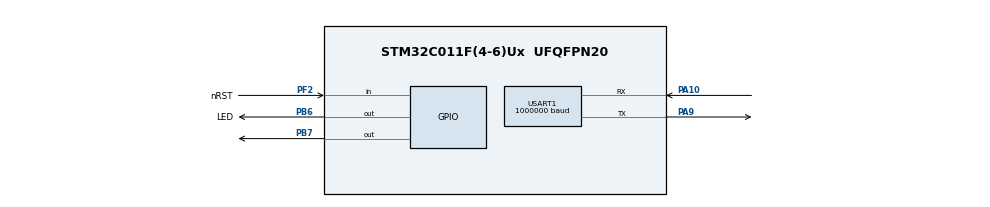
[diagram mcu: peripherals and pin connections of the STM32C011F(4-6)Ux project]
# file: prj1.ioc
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ADC1.Channel-1\#ChannelRegularConversion=ADC_CHANNEL_TEMPSENSOR
ADC1.NbrOfConversionFlag=1
ADC1.Rank-1\#ChannelRegularConversion=1
ADC1.SamplingTime-1\#ChannelRegularConversion=ADC_SAMPLINGTIME_COMMON_1
ADC1.SelectedChannel=ADC_CHANNEL_TEMPSENSOR
ADC1.master=1
Mcu.Family=STM32C0
Mcu.Name=STM32C011F(4-6)Ux
Mcu.Package=UFQFPN20
NVIC.TIM1_BRK_UP_TRG_COM_IRQn=true\:0\:0\:false\:false\:true\:true\:true\:true
NVIC.USART1_IRQn=true\:0\:0\:false\:false\:true\:true\:true\:true
PA10\ [PA12].GPIO_FMPA10=SYSCFG_FASTMODEPLUS_PA10
PA10\ [PA12].GPIO_ModeDefaultPP=GPIO_MODE_AF_PP
PA10\ [PA12].GPIO_PuPd=GPIO_NOPULL
PA10\ [PA12].GPIO_Speed=GPIO_SPEED_FREQ_VERY_HIGH
PA10\ [PA12].Mode=Asynchronous
PA10\ [PA12].Signal=USART1_RX
PA13.Mode=Serial_Wire
PA13.Signal=DEBUG_SWDIO
PA14-BOOT0.Mode=Serial_Wire
PA14-BOOT0.Signal=DEBUG_SWCLK
PA9\ [PA11].GPIO_FMPA9=SYSCFG_FASTMODEPLUS_PA9
PA9\ [PA11].GPIO_PuPd=GPIO_NOPULL
PA9\ [PA11].GPIO_Speed=GPIO_SPEED_FREQ_VERY_HIGH
PA9\ [PA11].Mode=Asynchronous
PA9\ [PA11].Signal=USART1_TX
PB6.GPIO_Label=LED
PB6.GPIO_Speed=GPIO_SPEED_FREQ_VERY_HIGH
PB6.PinState=GPIO_PIN_RESET
PB6.Signal=GPIO_Output
PB7.Signal=GPIO_Output
PF2-NRST.GPIO_Label=nRST
PF2-NRST.Signal=GPIO_Input
ProjectManager.HeapSize=0x200
ProjectManager.StackSize=0x400
ProjectManager.TargetToolchain=MDK-ARM V5.32
RCC.ADCFreq_Value=48000000
RCC.AHBFreq_Value=48000000
RCC.CortexFreq_Value=48000000
RCC.EXTERNAL_CLOCK_VALUE=12288000
RCC.HCLKFreq_Value=48000000
RCC.HSE_VALUE=8000000
RCC.HSISYSCLKDivider=RCC_HSI_DIV1
RCC.HSI_VALUE=48000000
RCC.LSE_VALUE=32768
RCC.SYSCLKFreq_VALUE=48000000
TIM1.Period=9
TIM1.Prescaler=47999
USART1.BaudRate=1000000
USART1.VirtualMode-Asynchronous=VM_ASYNC
VP_ADC1_TempSens_Input.Mode=IN-TempSens
VP_SYS_VS_PINREMAP.Mode=PINREMAP
VP_SYS_VS_PINREMAP_10_12.Mode=PINREMAP_10_12
VP_TIM1_VS_ClockSourceINT.Mode=Internal
board=STM32C0116-DK

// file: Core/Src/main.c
/* USER CODE BEGIN Header */
/**
  ******************************************************************************
  * @file           : main.c
  * @brief          : Main program body
  ******************************************************************************
  * @attention
  *
  * Copyright (c) 2023 STMicroelectronics.
  * All rights reserved.
  *
  * This software is licensed under terms that can be found in the LICENSE file
  * in the root directory of this software component.
  * If no LICENSE file comes with this software, it is provided AS-IS.
  *
  ******************************************************************************
  */
/* USER CODE END Header */
#include "main.h"
#include "adc.h"
#include "tim.h"
#include "usart.h"
#include "gpio.h"

/* USER CODE BEGIN Includes */
#include <stdio.h>           //--add for sprintf

/* USER CODE END Includes */

/* USER CODE BEGIN PTD */

//#define TXMODE
#define RXMODE

extern volatile uint8_t flg_rx;
extern volatile uint8_t irxdata;

extern volatile uint8_t timer1_flag;
extern  volatile uint32_t itimecount;

/* USER CODE END PTD */

/* USER CODE BEGIN PD */

  #define ADC_CALIBRATION_TIMEOUT_MS       (   1UL)
  #define ADC_ENABLE_TIMEOUT_MS            (   1UL)
  #define ADC_DISABLE_TIMEOUT_MS           (   1UL)
  #define ADC_STOP_CONVERSION_TIMEOUT_MS   (   1UL)
  #define ADC_CONVERSION_TIMEOUT_MS        (4000UL)

  /* Delay between ADC end of calibration and ADC enable.                     */
  /* Delay estimation in CPU cycles: Case of ADC enable done                  */
  /* immediately after ADC calibration, ADC clock setting slow                */
  /* (LL_ADC_CLOCK_ASYNC_DIV32). Use a higher delay if ratio                  */
  /* (CPU clock / ADC clock) is above 32.                                     */
  #define ADC_DELAY_CALIB_ENABLE_CPU_CYCLES  (LL_ADC_DELAY_CALIB_ENABLE_ADC_CYCLES * 32)

/* Definitions of environment analog values */
  /* Value of analog reference voltage (Vref+), connected to analog voltage   */
  /* supply Vdda (unit: mV).                                                  */
  #define VDDA_APPLI                       (3300UL)

/* Definitions of data related to this example */
  /* Init variable out of expected ADC conversion data range */
  #define VAR_CONVERTED_DATA_INIT_VALUE    (__LL_ADC_DIGITAL_SCALE(LL_ADC_RESOLUTION_12B) + 1)

/* USER CODE END PD */

/* USER CODE BEGIN PV */
//uint8_t ommo_mode = DEFAULT_MODE;
//uint8_t ommo_status = DEFAULT_STATUS;

int16_t itempval = 0UL; /* Value of temperature calculated from ADC conversion data (unit: degree Celsius) */
#define INTERNAL_TEMPSENSOR_AVGSLOPE   ((int32_t) 2500)        /* Internal temperature sensor, parameter Avg_Slope (unit: uV/DegCelsius). Refer to device datasheet for min/typ/max values. */
#define INTERNAL_TEMPSENSOR_V30        ((((int32_t)*TEMPSENSOR_CAL1_ADDR) \
                                        * TEMPSENSOR_CAL_VREFANALOG) / __LL_ADC_DIGITAL_SCALE(LL_ADC_RESOLUTION_12B)) /* Internal temperature sensor, parameter V30 (unit: mV), using calibration data (alternate solution possible with datasheet parameter: V30=760mV typ for STM32C0) */
#define INTERNAL_TEMPSENSOR_V30_TEMP   (TEMPSENSOR_CAL1_TEMP)

/* Variables for ADC conversion data */
__IO uint16_t uhADCxConvertedData = VAR_CONVERTED_DATA_INIT_VALUE; /* ADC group regular conversion data */

/* Variables for ADC conversion data computation to physical values */
uint16_t uhADCxConvertedData_Voltage_mVolt = 0;  /* Value of voltage calculated from ADC conversion data (unit: mV) */

/* USER CODE END PV */

void SystemClock_Config(void);
/* USER CODE BEGIN PFP */
void ADC_Activate(void);
void ConversionStartPoll_ADC_GrpRegular(void);

/* USER CODE END PFP */

/* USER CODE BEGIN 0 */

void iputs1(char *msg)
{
   while(*msg)
   Send_Data_To_UART1(*msg++);
}

void iputbytes1(uint8_t *msg, uint32_t ilen)
{
   while(ilen--)
   Send_Data_To_UART1(*msg++);
}

void Send_Data_To_UART1 (uint8_t c)
{

   USART1->TDR = c;

   while( (USART1-> ISR & (1<<7) ) ==0 );
}

/**
  * @brief  Perform ADC activation procedure to make it ready to convert
  *         (ADC instance: ADC1).
  * @param  None
  * @retval None
  */
void ADC_Activate(void)
{
  __IO uint32_t wait_loop_index = 0U;
  __IO uint32_t backup_setting_adc_dma_transfer = 0U;
  #if (USE_TIMEOUT == 1)
  uint32_t Timeout = 0U; /* Variable used for timeout management */
  #endif /* USE_TIMEOUT */

  /*## Operation on ADC hierarchical scope: ADC instance #####################*/

  /* Note: Hardware constraint (refer to description of the functions         */
  /*       below):                                                            */
  /*       On this STM32 series, setting of these features is conditioned to  */
  /*       ADC state:                                                         */
  /*       ADC must be disabled.                                              */
  /* Note: In this example, all these checks are not necessary but are        */
  /*       implemented anyway to show the best practice usages                */
  /*       corresponding to reference manual procedure.                       */
  /*       Software can be optimized by removing some of these checks, if     */
  /*       they are not relevant considering previous settings and actions    */
  /*       in user application.                                               */
  if (LL_ADC_IsEnabled(ADC1) == 0)
  {
    /* Enable ADC internal voltage regulator */
    LL_ADC_EnableInternalRegulator(ADC1);

    /* Delay for ADC internal voltage regulator stabilization.                */
    /* Compute number of CPU cycles to wait for, from delay in us.            */
    /* Note: Variable divided by 2 to compensate partially                    */
    /*       CPU processing cycles (depends on compilation optimization).     */
    /* Note: If system core clock frequency is below 200kHz, wait time        */
    /*       is only a few CPU processing cycles.                             */
    wait_loop_index = ((LL_ADC_DELAY_INTERNAL_REGUL_STAB_US * (SystemCoreClock / (100000 * 2))) / 10);
    while(wait_loop_index != 0)
    {
      wait_loop_index--;
    }

    /* Disable ADC DMA transfer request during calibration */
    /* Note: Specificity of this STM32 series: Calibration factor is          */
    /*       available in data register and also transferred by DMA.          */
    /*       To not insert ADC calibration factor among ADC conversion data   */
    /*       in DMA destination address, DMA transfer must be disabled during */
    /*       calibration.                                                     */
    backup_setting_adc_dma_transfer = LL_ADC_REG_GetDMATransfer(ADC1);
    LL_ADC_REG_SetDMATransfer(ADC1, LL_ADC_REG_DMA_TRANSFER_NONE);

    /* Run ADC self calibration */
    LL_ADC_StartCalibration(ADC1);

    /* Poll for ADC effectively calibrated */
    #if (USE_TIMEOUT == 1)
    Timeout = ADC_CALIBRATION_TIMEOUT_MS;
    #endif /* USE_TIMEOUT */

    while (LL_ADC_IsCalibrationOnGoing(ADC1) != 0)
    {
    #if (USE_TIMEOUT == 1)
      /* Check Systick counter flag to decrement the time-out value */
      if (LL_SYSTICK_IsActiveCounterFlag())
      {
        if(Timeout-- == 0)
        {
          /* Error: Time-out */
          Error_Handler();
        }
      }
    #endif /* USE_TIMEOUT */
    }

    /* Restore ADC DMA transfer request after calibration */
    LL_ADC_REG_SetDMATransfer(ADC1, backup_setting_adc_dma_transfer);

    /* Delay between ADC end of calibration and ADC enable.                   */
    /* Note: Variable divided by 2 to compensate partially                    */
    /*       CPU processing cycles (depends on compilation optimization).     */
    wait_loop_index = (ADC_DELAY_CALIB_ENABLE_CPU_CYCLES >> 1);
    while(wait_loop_index != 0)
    {
      wait_loop_index--;
    }

    /* Enable ADC */
    LL_ADC_Enable(ADC1);

    /* Poll for ADC ready to convert */
    #if (USE_TIMEOUT == 1)
    Timeout = ADC_ENABLE_TIMEOUT_MS;
    #endif /* USE_TIMEOUT */

    while (LL_ADC_IsActiveFlag_ADRDY(ADC1) == 0)
    {
    #if (USE_TIMEOUT == 1)
      /* Check Systick counter flag to decrement the time-out value */
      if (LL_SYSTICK_IsActiveCounterFlag())
      {
        if(Timeout-- == 0)
        {
          /* Error: Time-out */
          Error_Handler();
        }
      }
    #endif /* USE_TIMEOUT */
    }

    /* Note: ADC flag ADRDY is not cleared here to be able to check ADC       */
    /*       status afterwards.                                               */
    /*       This flag should be cleared at ADC Deactivation, before a new    */
    /*       ADC activation, using function "LL_ADC_ClearFlag_ADRDY()".       */
  }

  /*## Operation on ADC hierarchical scope: ADC group regular ################*/
  /* Note: No operation on ADC group regular performed here.                  */
  /*       ADC group regular conversions to be performed after this function  */
  /*       using function:                                                    */
  /*       "LL_ADC_REG_StartConversion();"                                    */

  /*## Operation on ADC hierarchical scope: ADC group injected ###############*/
  /* Note: Feature not available on this STM32 series */

}

/**
  * @brief  Perform ADC group regular conversion start, poll for conversion
  *         completion.
  *         (ADC instance: ADC1).
  * @note   This function does not perform ADC group regular conversion stop:
  *         intended to be used with ADC in single mode, trigger SW start
  *         (only 1 ADC conversion done at each trigger, no conversion stop
  *         needed).
  *         In case of continuous mode or conversion trigger set to
  *         external trigger, ADC group regular conversion stop must be added
  *         after polling for conversion data.
  * @param  None
  * @retval None
  */
void ConversionStartPoll_ADC_GrpRegular(void)
{
  #if (USE_TIMEOUT == 1)
  uint32_t Timeout = 0U; /* Variable used for timeout management */
  #endif /* USE_TIMEOUT */

  /* Start ADC group regular conversion */
  /* Note: Hardware constraint (refer to description of the function          */
  /*       below):                                                            */
  /*       On this STM32 series, setting of this feature is conditioned to    */
  /*       ADC state:                                                         */
  /*       ADC must be enabled without conversion on going on group regular,  */
  /*       without ADC disable command on going.                              */
  /* Note: In this example, all these checks are not necessary but are        */
  /*       implemented anyway to show the best practice usages                */
  /*       corresponding to reference manual procedure.                       */
  /*       Software can be optimized by removing some of these checks, if     */
  /*       they are not relevant considering previous settings and actions    */
  /*       in user application.                                               */
  if ((LL_ADC_IsEnabled(ADC1) == 1)               &&
      (LL_ADC_IsDisableOngoing(ADC1) == 0)        &&
      (LL_ADC_REG_IsConversionOngoing(ADC1) == 0)   )
  {
    LL_ADC_REG_StartConversion(ADC1);
  }
  else
  {
    /* Error: ADC conversion start could not be performed */
    Error_Handler();
  }

  #if (USE_TIMEOUT == 1)
  Timeout = ADC_UNITARY_CONVERSION_TIMEOUT_MS;
  #endif /* USE_TIMEOUT */

  while (LL_ADC_IsActiveFlag_EOC(ADC1) == 0)
  {
  #if (USE_TIMEOUT == 1)
    /* Check Systick counter flag to decrement the time-out value */
    if (LL_SYSTICK_IsActiveCounterFlag())
    {
      if(Timeout-- == 0)
      {
        Error_Handler();
      }
    }
  #endif /* USE_TIMEOUT */
  }

  /* Clear flag ADC group regular end of unitary conversion */
  /* Note: This action is not needed here, because flag ADC group regular   */
  /*       end of unitary conversion is cleared automatically when          */
  /*       software reads conversion data from ADC data register.           */
  /*       Nevertheless, this action is done anyway to show how to clear    */
  /*       this flag, needed if conversion data is not always read          */
  /*       or if group injected end of unitary conversion is used (for      */
  /*       devices with group injected available).                          */
  LL_ADC_ClearFlag_EOC(ADC1);

}

/* USER CODE END 0 */

int main(void)
{

  /* MCU Configuration--------------------------------------------------------*/

  /* Reset of all peripherals, Initializes the Flash interface and the Systick. */
  HAL_Init();

  /* Configure the system clock */
  SystemClock_Config();

  /* USER CODE BEGIN SysInit */
  LL_RCC_ConfigMCO(LL_RCC_MCO1SOURCE_SYSCLK, LL_RCC_MCO1_DIV_4);//12Mhz = 48Mhz/4
  /* USER CODE END SysInit */

  /* Initialize all configured peripherals */
  MX_GPIO_Init();
  MX_USART1_UART_Init();
  MX_TIM1_Init();
  MX_ADC1_Init();
  /* USER CODE BEGIN 2 */

  iputs1("start...");

  /* USER CODE END 2 */

  /* Infinite loop */
  /* USER CODE BEGIN WHILE */

  /* Activate ADC */
  /* Perform ADC activation procedure to make it ready to convert. */
  ADC_Activate();

  while (1)
  {
    LL_mDelay(1000);

    /* Perform ADC group regular conversion start, poll for conversion        */
    /* completion.                                                            */
    ConversionStartPoll_ADC_GrpRegular();

    /* Retrieve ADC conversion data */
    uhADCxConvertedData = LL_ADC_REG_ReadConversionData32(ADC1);

    /* Computation of ADC conversions raw data to physical values             */
    /* using helper macro.                                                    */
    uhADCxConvertedData_Voltage_mVolt = __LL_ADC_CALC_DATA_TO_VOLTAGE(VDDA_APPLI, uhADCxConvertedData, LL_ADC_RESOLUTION_12B);

    /* USER CODE END WHILE */

    /* USER CODE BEGIN 3 */
	  //ommo_timer1_task();

     if(timer1_flag==1)
     {
        //iputs1("t1 in");
        timer1_flag=0;
        //itimecount++;
     }

     if (flg_rx==1)
     {
        flg_rx=0;
        //USART1->TDR = irxdata; //0x32;

     }

#if (defined TXMODE)
   uint16_t isendnum=0;

   isendnum=256;
   while(isendnum--)
   Send_Data_To_UART1(255-isendnum);
#endif

     if(itimecount>=10)
     {
        itimecount=0;
        LL_GPIO_TogglePin( LED_GPIO_Port, LED_Pin);
        LL_GPIO_TogglePin( GPIOB, LL_GPIO_PIN_7);

        //Send_Data_To_UART1(uhADCxConvertedData);

        itempval = __LL_ADC_CALC_TEMPERATURE_TYP_PARAMS(INTERNAL_TEMPSENSOR_AVGSLOPE,
                                                                                          INTERNAL_TEMPSENSOR_V30,
                                                                                          INTERNAL_TEMPSENSOR_V30_TEMP,
                                                                                          VDDA_APPLI,
                                                                                          uhADCxConvertedData,
                                                                                          LL_ADC_RESOLUTION_12B);

        char str1[30];
        sprintf(str1,"adc8: %d %d %d\r\n",uhADCxConvertedData,uhADCxConvertedData_Voltage_mVolt,itempval);
        iputs1(str1);
     }

  }
  /* USER CODE END 3 */
}

void SystemClock_Config(void)
{

  LL_FLASH_SetLatency(LL_FLASH_LATENCY_1);

  /* HSI configuration and activation */
  LL_RCC_HSI_Enable();
  while(LL_RCC_HSI_IsReady() != 1)
  {
  }

  LL_RCC_HSI_SetCalibTrimming(64);
  LL_RCC_SetHSIDiv(LL_RCC_HSI_DIV_1);
  /* Set AHB prescaler*/
  LL_RCC_SetAHBPrescaler(LL_RCC_HCLK_DIV_1);

  /* Sysclk activation on the HSI */
  LL_RCC_SetSysClkSource(LL_RCC_SYS_CLKSOURCE_HSI);
  while(LL_RCC_GetSysClkSource() != LL_RCC_SYS_CLKSOURCE_STATUS_HSI)
  {
  }

  /* Set APB1 prescaler*/
  LL_RCC_SetAPB1Prescaler(LL_RCC_APB1_DIV_1);
  /* Update CMSIS variable (which can be updated also through SystemCoreClockUpdate function) */
  LL_SetSystemCoreClock(48000000);

   /* Update the time base */
  if (HAL_InitTick (TICK_INT_PRIORITY) != HAL_OK)
  {
    Error_Handler();
  }
}

void Error_Handler(void)
{
  __disable_irq();
  while (1)
  {
  }
}
